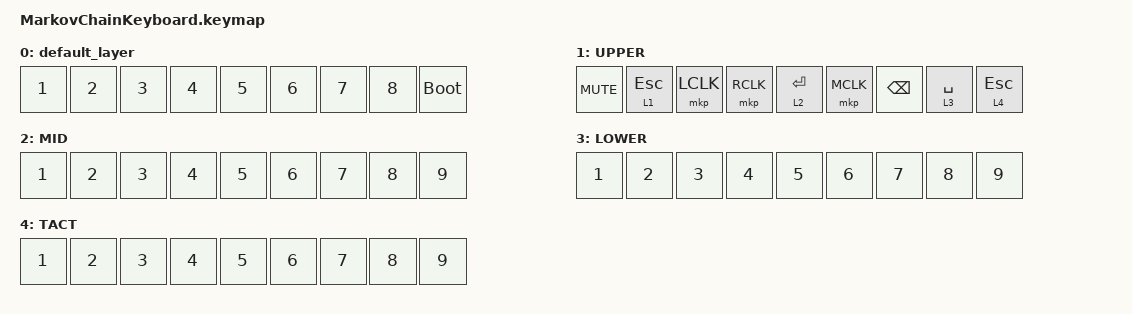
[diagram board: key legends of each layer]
#include <behaviors.dtsi>
#include <dt-bindings/zmk/bt.h>
#include <dt-bindings/zmk/keys.h>
#include <dt-bindings/zmk/mouse.h>
#include <behaviors/rgbled_widget.dtsi>
#include <zephyr/dt-bindings/input/input-event-codes.h>
#define ZMK_POINTING_DEFAULT_SCRL_VAL 100

// Leyer
#define UPPER 1
#define MID 2
#define LOWER 3
#define TACT 4

// Japanese
#define JP_MINUS MINUS        // -
#define JP_CARET EQUAL        // ^
#define JP_YEN   INT3         // ¥
#define JP_AT    LBKT         // @
#define JP_LBKT  RBKT         // [
#define JP_EISU  CAPS         // Eisū (英数)
#define JP_SEMI  SEMI         // ;
#define JP_COLON SQT          // :
#define JP_RBKT  NUHS         // ]
#define JP_COMMA COMMA        // ,
#define JP_DOT   DOT          // .
#define JP_SLASH SLASH        // /
#define JP_MHEN  INT5         // Muhenkan (無変換)
#define JP_HENK  INT4         // Henkan (変換)
#define JP_EXCL  LS(N1)       // !
#define JP_DQT   LS(N2)       // "
#define JP_HASH  LS(N3)       // #
#define JP_DLLR  LS(N4)       // $
#define JP_PRCNT LS(N5)       // %
#define JP_AMPS  LS(N6)       // &
#define JP_SQT   LS(N7)       // '
#define JP_LPAR  LS(N8)       // (
#define JP_RPAR  LS(N9)       // )
#define JP_EQUAL LS(JP_MINUS) // =
#define JP_TILDE LS(JP_CARET) // ~
#define JP_PIPE  LS(JP_YEN)   // |
#define JP_GRAVE LS(JP_AT)    // `
#define JP_LBRC  LS(JP_LBKT)  // {
#define JP_CAPS  LS(JP_EISU)  // Caps Lock
#define JP_PLUS  LS(JP_SEMI)  // +
#define JP_ASTRK LS(JP_COLON) // *
#define JP_RBRC  LS(JP_RBKT)  // }
#define JP_LT    LS(JP_COMMA) // <
#define JP_RT    LS(JP_DOT)   // >
#define JP_QMARK LS(JP_SLASH) // ?
#define JP_UNDER LS(JP_BSLH)  // _


/ {
    macros {
        to_layer_0: to_layer_0 {
            compatible = "zmk,behavior-macro-one-param";
            #binding-cells = <1>;
            bindings = <&to 0 &macro_param_1to1 &kp MACRO_PLACEHOLDER>;
            label = "TO_LAYER_0";
        };
    };

    behaviors {
        lt_to_layer_0: lt_to_layer_0 {
            compatible = "zmk,behavior-hold-tap";
            label = "LAYER_TAP_TO_0";
            bindings = <&mo>, <&to_layer_0>;
            #binding-cells = <2>;
            tapping-term-ms = <200>;
        };
    };

    keymap {
        compatible = "zmk,keymap";
        default_layer {
            bindings = <
                &kp 1  &kp 2  &kp 3
                &kp 4  &kp 5  &kp 6
                &kp 7  &kp 8  &bootloader
            >;
        };
        UPPER {
            bindings = <
                &kp C_MUTE                &lt_to_layer_0 1 ESC
                &mkp LCLK   &mkp RCLK     &lt_to_layer_0 2 ENTER
                &mkp MCLK   &kp BACKSPACE &lt_to_layer_0 3 SPACE
                                          &lt_to_layer_0 4 ESC
            >;
        };
        MID {
            bindings = <
                &kp 1  &kp 2  &kp 3
                &kp 4  &kp 5  &kp 6
                &kp 7  &kp 8  &kp 9
            >;
        };
        LOWER {
            bindings = <
                &kp 1  &kp 2  &kp 3
                &kp 4  &kp 5  &kp 6
                &kp 7  &kp 8  &kp 9
            >;
        };
        TACT {
            bindings = <
                &kp 1  &kp 2  &kp 3
                &kp 4  &kp 5  &kp 6
                &kp 7  &kp 8  &kp 9
            >;
        };
    };

};
